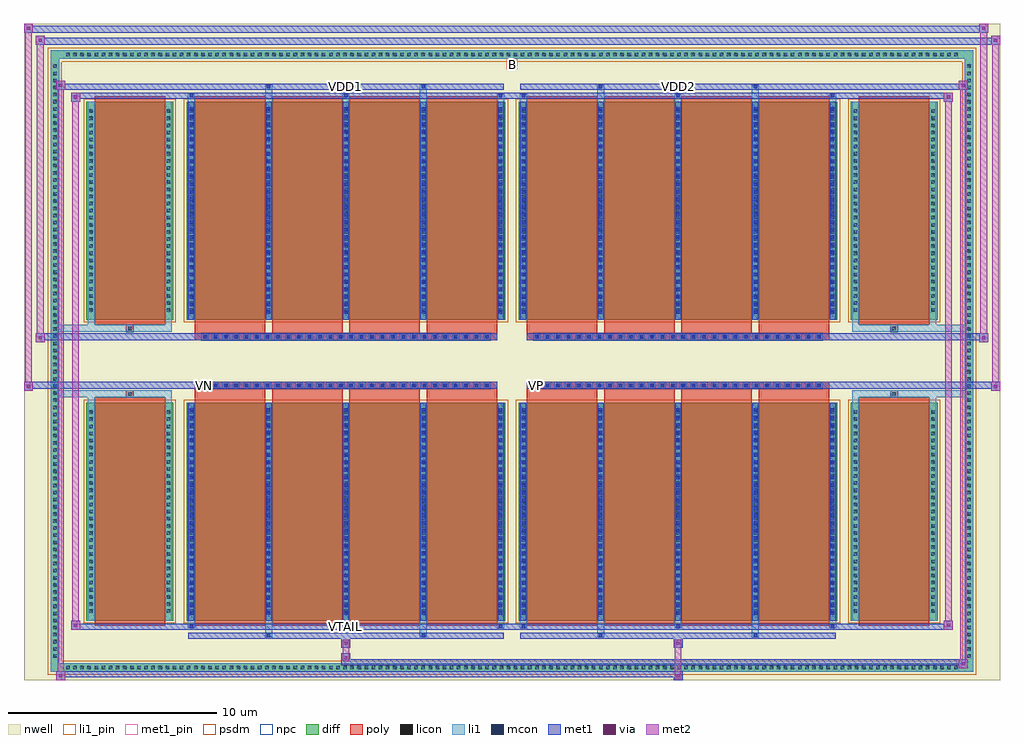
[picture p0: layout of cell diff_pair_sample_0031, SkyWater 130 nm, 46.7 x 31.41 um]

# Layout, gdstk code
import gdstk
lib = gdstk.Library(unit=1e-6, precision=5e-09)
def R(c, l, rs):  # rectangles x0, y0, x1, y1
    for r in rs: c.add(gdstk.rectangle(r[:2], r[2:], *l))
def A(c, l, x, y, w, h, nx, ny, dx, dy):  # array of equal rectangles
    R(c, l, [(x+i*dx, y+j*dy, x+i*dx+w, y+j*dy+h) for i in range(nx) for j in range(ny)])
def P(c, l, *ps):  # polygons
    for p in ps: c.add(gdstk.Polygon(p, *l))
nwell = (64, 20)
diff = (65, 20)
poly = (66, 20)
licon = (66, 44)
li1_pin = (67, 16)
li1 = (67, 20)
mcon = (67, 44)
met1_pin = (68, 16)
met1 = (68, 20)
via = (68, 44)
met2 = (69, 20)
psdm = (94, 20)
npc = (95, 20)

diff_pair_sample_0031 = lib.new_cell('diff_pair_sample_0031')
R(diff_pair_sample_0031, nwell, [(-23.35,-15.27,23.35,16.14), (-20.67,-13.46,-0.01,-0.8), (0.01,-13.46,20.67,-0.8), (-20.67,0.8,-0.01,13.46), (0.01,0.8,20.67,13.46)])
A(diff_pair_sample_0031, diff, -21.455, -14.87, 0.41, 0.41, 126, 2, 0.34, 29.33)
A(diff_pair_sample_0031, diff, -22.08, -14.315, 0.41, 0.41, 1, 84, 0, 0.34)
A(diff_pair_sample_0031, diff, 21.67, -14.315, 0.41, 0.41, 1, 84, 0, 0.34)
R(diff_pair_sample_0031, diff, [(-21.455,-14.87,21.455,-14.46), (-22.08,-14.315,-21.67,14.315), (21.67,-14.315,22.08,14.315), (-20.36,-12.415,-16.21,-1.985), (-15.57,-12.415,-0.32,-1.985), (0.32,-12.415,15.57,-1.985), (16.21,-12.415,20.36,-1.985), (-20.36,1.985,-16.21,12.415), (-15.57,1.985,-0.32,12.415), (0.32,1.985,15.57,12.415), (16.21,1.985,20.36,12.415), (-21.455,14.46,21.455,14.87)])
P(diff_pair_sample_0031, diff, [(22.08,14.87),(-22.08,14.87),(-22.08,-14.46),(-21.67,-14.46),(-21.67,14.46),(21.67,14.46),(21.67,-14.46),(-21.67,-14.46),(-22.08,-14.46),(-22.08,-14.87),(22.08,-14.87)])
A(diff_pair_sample_0031, poly, -15.18, -12.665, 3.37, 10.93, 4, 2, 3.7, 14.4)
A(diff_pair_sample_0031, poly, 0.71, -12.665, 3.37, 10.93, 4, 2, 3.7, 14.4)
A(diff_pair_sample_0031, poly, -15.18, -1.735, 3.37, 0.405, 4, 2, 3.7, 3.065)
A(diff_pair_sample_0031, poly, 0.71, -1.735, 3.37, 0.405, 4, 2, 3.7, 3.065)
A(diff_pair_sample_0031, poly, -14.86, -1.33, 0.33, 0.33, 28, 2, 0.5, 2.33)
A(diff_pair_sample_0031, poly, 1.03, -1.33, 0.33, 0.33, 28, 2, 0.5, 2.33)
R(diff_pair_sample_0031, poly, [(-19.97,-12.665,-16.6,-1.735), (16.6,-12.665,19.97,-1.735), (-18.45,-1.735,-18.12,-1.405), (-18.45,-1.735,-18.12,-1.405), (18.12,-1.735,18.45,-1.405), (18.12,-1.735,18.45,-1.405), (-15.18,-1.33,-0.71,-1), (0.71,-1.33,15.18,-1), (-15.18,1,-0.71,1.33), (0.71,1,15.18,1.33), (-18.45,1.405,-18.12,1.735), (-18.45,1.405,-18.12,1.735), (18.12,1.405,18.45,1.735), (18.12,1.405,18.45,1.735), (-19.97,1.735,-16.6,12.665), (16.6,1.735,19.97,12.665)])
A(diff_pair_sample_0031, licon, -21.335, -14.75, 0.17, 0.17, 126, 2, 0.34, 29.33)
A(diff_pair_sample_0031, licon, -21.96, -14.195, 0.17, 0.17, 1, 84, 0, 0.34)
A(diff_pair_sample_0031, licon, 21.79, -14.195, 0.17, 0.17, 1, 84, 0, 0.34)
A(diff_pair_sample_0031, licon, -20.22, -12.045, 0.17, 0.17, 1, 29, 0, 0.34)
A(diff_pair_sample_0031, licon, -16.52, -12.045, 0.17, 0.17, 1, 29, 0, 0.34)
A(diff_pair_sample_0031, licon, -15.43, -12.045, 0.17, 0.17, 5, 29, 3.7, 0.34)
A(diff_pair_sample_0031, licon, 0.46, -12.045, 0.17, 0.17, 5, 29, 3.7, 0.34)
A(diff_pair_sample_0031, licon, 16.35, -12.045, 0.17, 0.17, 1, 29, 0, 0.34)
A(diff_pair_sample_0031, licon, 20.05, -12.045, 0.17, 0.17, 1, 29, 0, 0.34)
A(diff_pair_sample_0031, licon, -14.78, -1.25, 0.17, 0.17, 28, 2, 0.5, 2.33)
A(diff_pair_sample_0031, licon, 1.11, -1.25, 0.17, 0.17, 28, 2, 0.5, 2.33)
A(diff_pair_sample_0031, licon, -20.22, 2.355, 0.17, 0.17, 1, 29, 0, 0.34)
A(diff_pair_sample_0031, licon, -16.52, 2.355, 0.17, 0.17, 1, 29, 0, 0.34)
A(diff_pair_sample_0031, licon, -15.43, 2.355, 0.17, 0.17, 5, 29, 3.7, 0.34)
A(diff_pair_sample_0031, licon, 0.46, 2.355, 0.17, 0.17, 5, 29, 3.7, 0.34)
A(diff_pair_sample_0031, licon, 16.35, 2.355, 0.17, 0.17, 1, 29, 0, 0.34)
A(diff_pair_sample_0031, licon, 20.05, 2.355, 0.17, 0.17, 1, 29, 0, 0.34)
R(diff_pair_sample_0031, licon, [(-18.37,-1.655,-18.2,-1.485), (18.2,-1.655,18.37,-1.485), (-18.37,1.485,-18.2,1.655), (18.2,1.485,18.37,1.655)])
R(diff_pair_sample_0031, li1_pin, [(-0.25,13.96,0.25,14.46)])
A(diff_pair_sample_0031, li1, -21.415, -14.83, 0.33, 0.33, 126, 2, 0.34, 29.33)
A(diff_pair_sample_0031, li1, -22.04, -14.275, 0.33, 0.33, 1, 84, 0, 0.34)
A(diff_pair_sample_0031, li1, 21.71, -14.275, 0.33, 0.33, 1, 84, 0, 0.34)
A(diff_pair_sample_0031, li1, -15.51, -12.79, 0.33, 0.375, 3, 2, 7.4, 25.205)
A(diff_pair_sample_0031, li1, -15.43, -12.79, 0.17, 0.17, 3, 2, 7.4, 25.41)
A(diff_pair_sample_0031, li1, 0.38, -12.79, 0.33, 0.375, 3, 2, 7.4, 25.205)
A(diff_pair_sample_0031, li1, 0.46, -12.79, 0.17, 0.17, 3, 2, 7.4, 25.41)
A(diff_pair_sample_0031, li1, -15.51, -12.415, 0.33, 10.43, 5, 2, 3.7, 14.4)
A(diff_pair_sample_0031, li1, 0.38, -12.415, 0.33, 10.43, 5, 2, 3.7, 14.4)
A(diff_pair_sample_0031, li1, -15.43, -12.145, 0.17, 0.17, 5, 28, 3.7, 0.36)
A(diff_pair_sample_0031, li1, -15.43, -12.145, 0.17, 9.89, 5, 2, 3.7, 14.4)
A(diff_pair_sample_0031, li1, 0.46, -12.145, 0.17, 0.17, 5, 28, 3.7, 0.36)
A(diff_pair_sample_0031, li1, 0.46, -12.145, 0.17, 9.89, 5, 2, 3.7, 14.4)
A(diff_pair_sample_0031, li1, -20.3, -12.125, 0.33, 0.33, 1, 29, 0, 0.34)
A(diff_pair_sample_0031, li1, -16.6, -12.125, 0.33, 0.33, 1, 29, 0, 0.34)
A(diff_pair_sample_0031, li1, -15.51, -12.125, 0.33, 0.33, 5, 29, 3.7, 0.34)
A(diff_pair_sample_0031, li1, 0.38, -12.125, 0.33, 0.33, 5, 29, 3.7, 0.34)
A(diff_pair_sample_0031, li1, 16.27, -12.125, 0.33, 0.33, 1, 29, 0, 0.34)
A(diff_pair_sample_0031, li1, 19.97, -12.125, 0.33, 0.33, 1, 29, 0, 0.34)
A(diff_pair_sample_0031, li1, -14.86, -1.33, 0.33, 0.33, 28, 2, 0.5, 2.33)
A(diff_pair_sample_0031, li1, 1.03, -1.33, 0.33, 0.33, 28, 2, 0.5, 2.33)
A(diff_pair_sample_0031, li1, -15.43, 2.255, 0.17, 0.17, 5, 28, 3.7, 0.36)
A(diff_pair_sample_0031, li1, 0.46, 2.255, 0.17, 0.17, 5, 28, 3.7, 0.36)
A(diff_pair_sample_0031, li1, -20.3, 2.275, 0.33, 0.33, 1, 29, 0, 0.34)
A(diff_pair_sample_0031, li1, -16.6, 2.275, 0.33, 0.33, 1, 29, 0, 0.34)
A(diff_pair_sample_0031, li1, -15.51, 2.275, 0.33, 0.33, 5, 29, 3.7, 0.34)
A(diff_pair_sample_0031, li1, 0.38, 2.275, 0.33, 0.33, 5, 29, 3.7, 0.34)
A(diff_pair_sample_0031, li1, 16.27, 2.275, 0.33, 0.33, 1, 29, 0, 0.34)
A(diff_pair_sample_0031, li1, 19.97, 2.275, 0.33, 0.33, 1, 29, 0, 0.34)
R(diff_pair_sample_0031, li1, [(-22.08,-14.87,-21.67,-14.46), (-22.08,-14.87,-21.67,-14.46), (-21.67,-14.87,21.67,-14.46), (21.67,-14.87,22.08,-14.46), (21.67,-14.87,22.08,-14.46), (-22.08,-14.46,-21.67,14.46), (21.67,-14.46,22.08,14.46), (-11.81,-13.22,-11.48,-12.415), (-11.73,-13.22,-11.56,-13.05), (-4.41,-13.22,-4.08,-12.415), (-4.33,-13.22,-4.16,-13.05), (4.08,-13.22,4.41,-12.415), (4.16,-13.22,4.33,-13.05), (11.48,-13.22,11.81,-12.415), (11.56,-13.22,11.73,-13.05), (-20.3,-12.415,-19.97,-1.985), (-16.6,-12.415,-16.27,-1.985), (16.27,-12.415,16.6,-1.985), (19.97,-12.415,20.3,-1.985), (-20.3,-1.985,-19.97,-1.405), (-16.6,-1.985,-16.27,-1.405), (16.27,-1.985,16.6,-1.405), (19.97,-1.985,20.3,-1.405), (-22.08,-1.735,-18.45,-1.405), (-20.3,-1.735,-18.45,-1.405), (-18.45,-1.735,-18.12,-1.405), (-18.12,-1.735,-16.27,-1.405), (16.27,-1.735,18.12,-1.405), (18.12,-1.735,18.45,-1.405), (18.12,-1.735,22.08,-1.405), (18.45,-1.735,20.3,-1.405), (-22.08,1.405,-18.45,1.735), (-20.3,1.405,-18.45,1.735), (-20.3,1.405,-19.97,1.985), (-18.45,1.405,-18.12,1.735), (-18.12,1.405,-16.27,1.735), (-16.6,1.405,-16.27,1.985), (16.27,1.405,18.12,1.735), (16.27,1.405,16.6,1.985), (18.12,1.405,18.45,1.735), (18.12,1.405,22.08,1.735), (18.45,1.405,20.3,1.735), (19.97,1.405,20.3,1.985), (-20.3,1.985,-19.97,12.415), (-16.6,1.985,-16.27,12.415), (16.27,1.985,16.6,12.415), (19.97,1.985,20.3,12.415), (-11.81,12.415,-11.48,13.22), (-4.41,12.415,-4.08,13.22), (4.08,12.415,4.41,13.22), (11.48,12.415,11.81,13.22), (-11.73,13.05,-11.56,13.22), (-4.33,13.05,-4.16,13.22), (4.16,13.05,4.33,13.22), (11.56,13.05,11.73,13.22), (-22.08,14.46,-21.67,14.87), (-22.08,14.46,-21.67,14.87), (-21.67,14.46,21.67,14.87), (21.67,14.46,22.08,14.87), (21.67,14.46,22.08,14.87)])
A(diff_pair_sample_0031, mcon, -15.43, -12.79, 0.17, 0.17, 3, 2, 7.4, 25.41)
A(diff_pair_sample_0031, mcon, 0.46, -12.79, 0.17, 0.17, 3, 2, 7.4, 25.41)
A(diff_pair_sample_0031, mcon, -15.43, -12.145, 0.17, 0.17, 5, 28, 3.7, 0.36)
A(diff_pair_sample_0031, mcon, 0.46, -12.145, 0.17, 0.17, 5, 28, 3.7, 0.36)
A(diff_pair_sample_0031, mcon, -14.78, -1.25, 0.17, 0.17, 28, 2, 0.5, 2.33)
A(diff_pair_sample_0031, mcon, 1.11, -1.25, 0.17, 0.17, 28, 2, 0.5, 2.33)
A(diff_pair_sample_0031, mcon, -15.43, 2.255, 0.17, 0.17, 5, 28, 3.7, 0.36)
A(diff_pair_sample_0031, mcon, 0.46, 2.255, 0.17, 0.17, 5, 28, 3.7, 0.36)
R(diff_pair_sample_0031, mcon, [(-11.73,-13.22,-11.56,-13.05), (-4.33,-13.22,-4.16,-13.05), (4.16,-13.22,4.33,-13.05), (11.56,-13.22,11.73,-13.05), (-11.73,13.05,-11.56,13.22), (-4.33,13.05,-4.16,13.22), (4.16,13.05,4.33,13.22), (11.56,13.05,11.73,13.22)])
R(diff_pair_sample_0031, met1_pin, [(-8.08,-12.83,-7.81,-12.56), (-14.83,-1.29,-14.56,-1.02), (1.06,-1.29,1.33,-1.02), (-8.08,13.01,-7.81,13.28), (7.81,13.01,8.08,13.28)])
A(diff_pair_sample_0031, met1, -15.49, -12.85, 0.29, 0.29, 3, 2, 7.4, 25.41)
A(diff_pair_sample_0031, met1, 0.4, -12.85, 0.29, 0.29, 3, 2, 7.4, 25.41)
A(diff_pair_sample_0031, met1, -15.49, -12.415, 0.29, 10.43, 5, 2, 3.7, 14.4)
A(diff_pair_sample_0031, met1, 0.4, -12.415, 0.29, 10.43, 5, 2, 3.7, 14.4)
A(diff_pair_sample_0031, met1, -15.49, -12.205, 0.29, 0.29, 5, 28, 3.7, 0.36)
A(diff_pair_sample_0031, met1, 0.4, -12.205, 0.29, 0.29, 5, 28, 3.7, 0.36)
A(diff_pair_sample_0031, met1, -14.84, -1.31, 0.29, 0.29, 28, 2, 0.5, 2.33)
A(diff_pair_sample_0031, met1, 1.05, -1.31, 0.29, 0.29, 28, 2, 0.5, 2.33)
A(diff_pair_sample_0031, met1, -15.49, 2.195, 0.29, 0.29, 5, 28, 3.7, 0.36)
A(diff_pair_sample_0031, met1, 0.4, 2.195, 0.29, 0.29, 5, 28, 3.7, 0.36)
R(diff_pair_sample_0031, met1, [(-21.81,-15.27,-21.38,-14.84), (7.73,-15.27,8.16,-14.84), (-21.81,-15.13,8.16,-14.84), (21.38,-14.7,21.81,-14.27), (-8.16,-14.56,21.81,-14.27), (-8.16,-14.42,-7.73,-13.99), (-8.16,-13.71,-7.73,-13.28), (7.73,-13.71,8.16,-13.28), (-15.49,-13.28,-0.4,-12.99), (-11.79,-13.28,-11.5,-12.99), (-4.39,-13.28,-4.1,-12.99), (0.4,-13.28,15.49,-12.99), (4.1,-13.28,4.39,-12.99), (11.5,-13.28,11.79,-12.99), (-21.1,-12.85,-20.67,-12.42), (-21.1,-12.85,-15.49,-12.56), (-15.49,-12.85,-0.4,-12.56), (-0.4,-12.85,0.4,-12.56), (0.4,-12.85,15.49,-12.56), (15.49,-12.85,21.1,-12.56), (20.67,-12.85,21.1,-12.42), (-23.35,-1.43,-22.92,-1), (22.92,-1.43,23.35,-1), (-23.35,-1.33,-0.71,-1), (-15.18,-1.33,-0.71,-1), (0.71,-1.33,15.18,-1), (0.71,-1.33,23.35,-1), (-22.78,0.9,-22.35,1.33), (22.35,0.9,22.78,1.33), (-22.78,1,-15.18,1.33), (-15.18,1,-0.71,1.33), (0.71,1,15.18,1.33), (15.18,1,22.78,1.33), (-21.1,12.42,-20.67,12.85), (20.67,12.42,21.1,12.85), (-21.1,12.56,-15.49,12.85), (-15.49,12.56,-0.4,12.85), (-0.4,12.56,0.4,12.85), (0.4,12.56,15.49,12.85), (15.49,12.56,21.1,12.85), (-21.81,12.99,-21.38,13.42), (-21.81,12.99,-15.49,13.28), (-15.49,12.99,-0.4,13.28), (-11.79,12.99,-11.5,13.28), (-4.39,12.99,-4.1,13.28), (0.4,12.99,15.49,13.28), (4.1,12.99,4.39,13.28), (11.5,12.99,11.79,13.28), (15.49,12.99,21.81,13.28), (21.38,12.99,21.81,13.42), (-22.78,15.14,-22.35,15.57), (-22.78,15.14,-20.67,15.47), (-20.67,15.14,20.67,15.47), (20.67,15.14,23.35,15.47), (22.92,15.14,23.35,15.57), (-23.35,15.71,-22.92,16.14), (-23.35,15.71,-20.67,16.04), (-20.67,15.71,20.67,16.04), (20.67,15.71,22.78,16.04), (22.35,15.71,22.78,16.14)])
R(diff_pair_sample_0031, via, [(-21.67,-15.13,-21.52,-14.98), (7.87,-15.13,8.02,-14.98), (21.52,-14.56,21.67,-14.41), (-8.02,-14.28,-7.87,-14.13), (-8.02,-13.57,-7.87,-13.42), (7.87,-13.57,8.02,-13.42), (-20.96,-12.71,-20.81,-12.56), (20.81,-12.71,20.96,-12.56), (-23.21,-1.29,-23.06,-1.14), (23.06,-1.29,23.21,-1.14), (-22.64,1.04,-22.49,1.19), (22.49,1.04,22.64,1.19), (-20.96,12.56,-20.81,12.71), (20.81,12.56,20.96,12.71), (-21.67,13.13,-21.52,13.28), (21.52,13.13,21.67,13.28), (-22.64,15.28,-22.49,15.43), (23.06,15.28,23.21,15.43), (-23.21,15.85,-23.06,16), (22.49,15.85,22.64,16)])
R(diff_pair_sample_0031, met2, [(-21.81,-15.27,-21.38,-14.84), (-21.74,-15.27,-21.45,13.42), (-21.45,-15.27,-21.38,-14.84), (-21.76,-15.22,-21.43,-14.89), (7.78,-15.22,8.11,-14.89), (7.78,-14.89,8.11,-13.66), (21.38,-14.7,21.81,-14.27), (21.45,-14.7,21.74,13.42), (21.74,-14.7,21.81,-14.27), (21.43,-14.65,21.76,-14.32), (-8.11,-14.37,-7.78,-14.04), (-8.11,-14.04,-7.78,-13.66), (-8.11,-13.66,-7.78,-13.33), (7.78,-13.66,8.11,-13.33), (-21.1,-12.85,-20.67,-12.42), (-21.03,-12.85,-20.74,12.85), (-20.74,-12.85,-20.67,-12.42), (20.67,-12.85,21.1,-12.42), (20.74,-12.85,21.03,12.85), (21.03,-12.85,21.1,-12.42), (-21.05,-12.8,-20.72,-12.47), (20.72,-12.8,21.05,-12.47), (-23.35,-1.43,-22.92,-1), (-23.3,-1.43,-22.97,16.14), (-22.97,-1.43,-22.92,-1), (22.92,-1.43,23.35,-1), (22.97,-1.43,23.3,15.57), (23.3,-1.43,23.35,-1), (-23.3,-1.38,-22.97,-1.05), (22.97,-1.38,23.3,-1.05), (-22.78,0.9,-22.35,1.33), (-22.73,0.9,-22.4,15.57), (-22.4,0.9,-22.35,1.33), (22.35,0.9,22.78,1.33), (22.4,0.9,22.73,16.14), (22.73,0.9,22.78,1.33), (-22.73,0.95,-22.4,1.28), (22.4,0.95,22.73,1.28), (-21.1,12.42,-20.67,12.85), (-20.74,12.42,-20.67,12.85), (20.67,12.42,21.1,12.85), (21.03,12.42,21.1,12.85), (-21.05,12.47,-20.72,12.8), (20.72,12.47,21.05,12.8), (-21.81,12.99,-21.38,13.42), (-21.45,12.99,-21.38,13.42), (21.38,12.99,21.81,13.42), (21.74,12.99,21.81,13.42), (-21.76,13.04,-21.43,13.37), (21.43,13.04,21.76,13.37), (-22.78,15.14,-22.35,15.57), (-22.4,15.14,-22.35,15.57), (22.92,15.14,23.35,15.57), (23.3,15.14,23.35,15.57), (-22.73,15.19,-22.4,15.52), (22.97,15.19,23.3,15.52), (-23.35,15.71,-22.92,16.14), (-22.97,15.71,-22.92,16.14), (22.35,15.71,22.78,16.14), (22.73,15.71,22.78,16.14), (-23.3,15.76,-22.97,16.09), (22.4,15.76,22.73,16.09)])
R(diff_pair_sample_0031, psdm, [(-20.49,-12.545,-16.08,-1.855), (-15.7,-12.545,-0.19,-1.855), (0.19,-12.545,15.7,-1.855), (16.08,-12.545,20.49,-1.855), (-20.49,1.855,-16.08,12.545), (-15.7,1.855,-0.19,12.545), (0.19,1.855,15.7,12.545), (16.08,1.855,20.49,12.545)])
P(diff_pair_sample_0031, psdm, [(22.21,15),(-22.21,15),(-22.21,-14.33),(-21.54,-14.33),(-21.54,14.33),(21.54,14.33),(21.54,-14.33),(-21.54,-14.33),(-22.21,-14.33),(-22.21,-15),(22.21,-15)])
A(diff_pair_sample_0031, npc, -14.88, -1.35, 0.37, 0.37, 28, 2, 0.5, 2.33)
A(diff_pair_sample_0031, npc, 1.01, -1.35, 0.37, 0.37, 28, 2, 0.5, 2.33)
R(diff_pair_sample_0031, npc, [(-18.47,-1.755,-18.1,-1.385), (18.1,-1.755,18.47,-1.385), (-14.88,-1.35,-14.01,-0.98), (-14.88,-1.35,-14.01,-0.98), (-14.38,-1.35,-13.51,-0.98), (-14.38,-1.35,-13.51,-0.98), (-13.88,-1.35,-13.01,-0.98), (-13.88,-1.35,-13.01,-0.98), (-13.38,-1.35,-12.51,-0.98), (-13.38,-1.35,-12.51,-0.98), (-12.88,-1.35,-12.01,-0.98), (-12.88,-1.35,-12.01,-0.98), (-12.38,-1.35,-11.51,-0.98), (-12.38,-1.35,-11.51,-0.98), (-11.88,-1.35,-11.01,-0.98), (-11.88,-1.35,-11.01,-0.98), (-11.38,-1.35,-10.51,-0.98), (-11.38,-1.35,-10.51,-0.98), (-10.88,-1.35,-10.01,-0.98), (-10.88,-1.35,-10.01,-0.98), (-10.38,-1.35,-9.51,-0.98), (-10.38,-1.35,-9.51,-0.98), (-9.88,-1.35,-9.01,-0.98), (-9.88,-1.35,-9.01,-0.98), (-9.38,-1.35,-8.51,-0.98), (-9.38,-1.35,-8.51,-0.98), (-8.88,-1.35,-8.01,-0.98), (-8.88,-1.35,-8.01,-0.98), (-8.38,-1.35,-7.51,-0.98), (-8.38,-1.35,-7.51,-0.98), (-7.88,-1.35,-7.01,-0.98), (-7.88,-1.35,-7.01,-0.98), (-7.38,-1.35,-6.51,-0.98), (-7.38,-1.35,-6.51,-0.98), (-6.88,-1.35,-6.01,-0.98), (-6.88,-1.35,-6.01,-0.98), (-6.38,-1.35,-5.51,-0.98), (-6.38,-1.35,-5.51,-0.98), (-5.88,-1.35,-5.01,-0.98), (-5.88,-1.35,-5.01,-0.98), (-5.38,-1.35,-4.51,-0.98), (-5.38,-1.35,-4.51,-0.98), (-4.88,-1.35,-4.01,-0.98), (-4.88,-1.35,-4.01,-0.98), (-4.38,-1.35,-3.51,-0.98), (-4.38,-1.35,-3.51,-0.98), (-3.88,-1.35,-3.01,-0.98), (-3.88,-1.35,-3.01,-0.98), (-3.38,-1.35,-2.51,-0.98), (-3.38,-1.35,-2.51,-0.98), (-2.88,-1.35,-2.01,-0.98), (-2.88,-1.35,-2.01,-0.98), (-2.38,-1.35,-1.51,-0.98), (-2.38,-1.35,-1.51,-0.98), (-1.88,-1.35,-1.01,-0.98), (-1.88,-1.35,-1.01,-0.98), (1.01,-1.35,1.88,-0.98), (1.01,-1.35,1.88,-0.98), (1.51,-1.35,2.38,-0.98), (1.51,-1.35,2.38,-0.98), (2.01,-1.35,2.88,-0.98), (2.01,-1.35,2.88,-0.98), (2.51,-1.35,3.38,-0.98), (2.51,-1.35,3.38,-0.98), (3.01,-1.35,3.88,-0.98), (3.01,-1.35,3.88,-0.98), (3.51,-1.35,4.38,-0.98), (3.51,-1.35,4.38,-0.98), (4.01,-1.35,4.88,-0.98), (4.01,-1.35,4.88,-0.98), (4.51,-1.35,5.38,-0.98), (4.51,-1.35,5.38,-0.98), (5.01,-1.35,5.88,-0.98), (5.01,-1.35,5.88,-0.98), (5.51,-1.35,6.38,-0.98), (5.51,-1.35,6.38,-0.98), (6.01,-1.35,6.88,-0.98), (6.01,-1.35,6.88,-0.98), (6.51,-1.35,7.38,-0.98), (6.51,-1.35,7.38,-0.98), (7.01,-1.35,7.88,-0.98), (7.01,-1.35,7.88,-0.98), (7.51,-1.35,8.38,-0.98), (7.51,-1.35,8.38,-0.98), (8.01,-1.35,8.88,-0.98), (8.01,-1.35,8.88,-0.98), (8.51,-1.35,9.38,-0.98), (8.51,-1.35,9.38,-0.98), (9.01,-1.35,9.88,-0.98), (9.01,-1.35,9.88,-0.98), (9.51,-1.35,10.38,-0.98), (9.51,-1.35,10.38,-0.98), (10.01,-1.35,10.88,-0.98), (10.01,-1.35,10.88,-0.98), (10.51,-1.35,11.38,-0.98), (10.51,-1.35,11.38,-0.98), (11.01,-1.35,11.88,-0.98), (11.01,-1.35,11.88,-0.98), (11.51,-1.35,12.38,-0.98), (11.51,-1.35,12.38,-0.98), (12.01,-1.35,12.88,-0.98), (12.01,-1.35,12.88,-0.98), (12.51,-1.35,13.38,-0.98), (12.51,-1.35,13.38,-0.98), (13.01,-1.35,13.88,-0.98), (13.01,-1.35,13.88,-0.98), (13.51,-1.35,14.38,-0.98), (13.51,-1.35,14.38,-0.98), (14.01,-1.35,14.88,-0.98), (14.01,-1.35,14.88,-0.98), (-14.88,0.98,-14.01,1.35), (-14.88,0.98,-14.01,1.35), (-14.38,0.98,-13.51,1.35), (-14.38,0.98,-13.51,1.35), (-13.88,0.98,-13.01,1.35), (-13.88,0.98,-13.01,1.35), (-13.38,0.98,-12.51,1.35), (-13.38,0.98,-12.51,1.35), (-12.88,0.98,-12.01,1.35), (-12.88,0.98,-12.01,1.35), (-12.38,0.98,-11.51,1.35), (-12.38,0.98,-11.51,1.35), (-11.88,0.98,-11.01,1.35), (-11.88,0.98,-11.01,1.35), (-11.38,0.98,-10.51,1.35), (-11.38,0.98,-10.51,1.35), (-10.88,0.98,-10.01,1.35), (-10.88,0.98,-10.01,1.35), (-10.38,0.98,-9.51,1.35), (-10.38,0.98,-9.51,1.35), (-9.88,0.98,-9.01,1.35), (-9.88,0.98,-9.01,1.35), (-9.38,0.98,-8.51,1.35), (-9.38,0.98,-8.51,1.35), (-8.88,0.98,-8.01,1.35), (-8.88,0.98,-8.01,1.35), (-8.38,0.98,-7.51,1.35), (-8.38,0.98,-7.51,1.35), (-7.88,0.98,-7.01,1.35), (-7.88,0.98,-7.01,1.35), (-7.38,0.98,-6.51,1.35), (-7.38,0.98,-6.51,1.35), (-6.88,0.98,-6.01,1.35), (-6.88,0.98,-6.01,1.35), (-6.38,0.98,-5.51,1.35), (-6.38,0.98,-5.51,1.35), (-5.88,0.98,-5.01,1.35), (-5.88,0.98,-5.01,1.35), (-5.38,0.98,-4.51,1.35), (-5.38,0.98,-4.51,1.35), (-4.88,0.98,-4.01,1.35), (-4.88,0.98,-4.01,1.35), (-4.38,0.98,-3.51,1.35), (-4.38,0.98,-3.51,1.35), (-3.88,0.98,-3.01,1.35), (-3.88,0.98,-3.01,1.35), (-3.38,0.98,-2.51,1.35), (-3.38,0.98,-2.51,1.35), (-2.88,0.98,-2.01,1.35), (-2.88,0.98,-2.01,1.35), (-2.38,0.98,-1.51,1.35), (-2.38,0.98,-1.51,1.35), (-1.88,0.98,-1.01,1.35), (-1.88,0.98,-1.01,1.35), (1.01,0.98,1.88,1.35), (1.01,0.98,1.88,1.35), (1.51,0.98,2.38,1.35), (1.51,0.98,2.38,1.35), (2.01,0.98,2.88,1.35), (2.01,0.98,2.88,1.35), (2.51,0.98,3.38,1.35), (2.51,0.98,3.38,1.35), (3.01,0.98,3.88,1.35), (3.01,0.98,3.88,1.35), (3.51,0.98,4.38,1.35), (3.51,0.98,4.38,1.35), (4.01,0.98,4.88,1.35), (4.01,0.98,4.88,1.35), (4.51,0.98,5.38,1.35), (4.51,0.98,5.38,1.35), (5.01,0.98,5.88,1.35), (5.01,0.98,5.88,1.35), (5.51,0.98,6.38,1.35), (5.51,0.98,6.38,1.35), (6.01,0.98,6.88,1.35), (6.01,0.98,6.88,1.35), (6.51,0.98,7.38,1.35), (6.51,0.98,7.38,1.35), (7.01,0.98,7.88,1.35), (7.01,0.98,7.88,1.35), (7.51,0.98,8.38,1.35), (7.51,0.98,8.38,1.35), (8.01,0.98,8.88,1.35), (8.01,0.98,8.88,1.35), (8.51,0.98,9.38,1.35), (8.51,0.98,9.38,1.35), (9.01,0.98,9.88,1.35), (9.01,0.98,9.88,1.35), (9.51,0.98,10.38,1.35), (9.51,0.98,10.38,1.35), (10.01,0.98,10.88,1.35), (10.01,0.98,10.88,1.35), (10.51,0.98,11.38,1.35), (10.51,0.98,11.38,1.35), (11.01,0.98,11.88,1.35), (11.01,0.98,11.88,1.35), (11.51,0.98,12.38,1.35), (11.51,0.98,12.38,1.35), (12.01,0.98,12.88,1.35), (12.01,0.98,12.88,1.35), (12.51,0.98,13.38,1.35), (12.51,0.98,13.38,1.35), (13.01,0.98,13.88,1.35), (13.01,0.98,13.88,1.35), (13.51,0.98,14.38,1.35), (13.51,0.98,14.38,1.35), (14.01,0.98,14.88,1.35), (14.01,0.98,14.88,1.35), (-18.47,1.385,-18.1,1.755), (18.1,1.385,18.47,1.755)])
diff_pair_sample_0031.add(gdstk.Label('VTAIL', (-7.945,-12.695), layer=68, texttype=5))
diff_pair_sample_0031.add(gdstk.Label('VN', (-14.695,-1.155), layer=68, texttype=5))
diff_pair_sample_0031.add(gdstk.Label('VP', (1.195,-1.155), layer=68, texttype=5))
diff_pair_sample_0031.add(gdstk.Label('B', (0,14.21), layer=67, texttype=5))
diff_pair_sample_0031.add(gdstk.Label('VDD2', (7.945,13.145), layer=68, texttype=5))
diff_pair_sample_0031.add(gdstk.Label('VDD1', (-7.945,13.145), layer=68, texttype=5))

lib.write_gds('diff_pair_sample_0031.gds')
